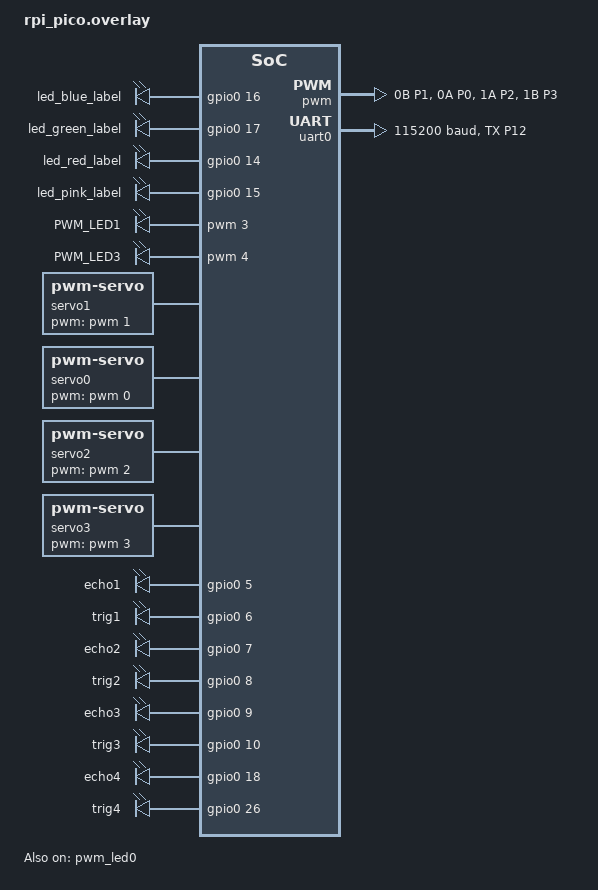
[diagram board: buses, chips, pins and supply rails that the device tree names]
#include </home/tatiana/zephyrproject/zephyr/include/zephyr/dt-bindings/pinctrl/rpi-pico-rp2040-pinctrl.h>


/ {

	aliases {
		led1 = &led_blue_label;
		led2 = &led_green_label;
		led3 = &led_red_label;
		led4 = &led_pink_label;
		pwm-led1 = &pwm_led1;
		pwm-led0 = &pwm_led3;
		echo1 = &echo1;
		trig1 = &trig1;
		echo2 = &echo2;
		trig2 = &trig2;
		echo3 = &echo3;
		trig3 = &trig3;
		echo4 = &echo4;
		trig4 = &trig4;
	  };
	
	  my_leds_node {
		compatible = "gpio-leds";
		led_blue_label: led_blue_node {
		  gpios = <&gpio0 16 GPIO_ACTIVE_HIGH>;
		};
	  };
	  my_leds_nodes {
		compatible = "gpio-leds";
		led_green_label: led_green_node {
		  gpios = <&gpio0 17 GPIO_ACTIVE_HIGH>;
		};
	  };
	  my_leds_nodes1 {
		compatible = "gpio-leds";
		led_red_label: led_red_node {
		  gpios = <&gpio0 14 GPIO_ACTIVE_HIGH>;
		};
	  };
	  my_leds_nodes2 {
		compatible = "gpio-leds";
		led_pink_label: led_pink_node {
		  gpios = <&gpio0 15 GPIO_ACTIVE_HIGH>;
		};
	  };
	 
	  pwm_leds1 {
			compatible = "pwm-leds";
			pwm_led1: pwm_led_1 {
				status = "okay";
				pwms = <&pwm 3 PWM_MSEC(20) PWM_POLARITY_NORMAL>;
				label = "PWM_LED1";
			};
			pwm_led3: pwm_led_3 {
				status = "okay";
				pwms = <&pwm 4 PWM_MSEC(20) PWM_POLARITY_NORMAL>;
				label = "PWM_LED3";
			};
			
		};
	servo1: servo1 {
		compatible = "pwm-servo";
		pwms = <&pwm 1 PWM_MSEC(20) PWM_POLARITY_NORMAL>;
		min-pulse = <PWM_USEC(700)>;
		max-pulse = <PWM_USEC(2500)>;
	};
	servo0: servo0 {
		compatible = "pwm-servo";
		pwms = <&pwm 0 PWM_MSEC(20) PWM_POLARITY_NORMAL>;
		min-pulse = <PWM_USEC(700)>;
		max-pulse = <PWM_USEC(2500)>;
	};
	servo2: servo2 {
		compatible = "pwm-servo";
		pwms = <&pwm 2 PWM_MSEC(20) PWM_POLARITY_NORMAL>;
		min-pulse = <PWM_USEC(700)>;
		max-pulse = <PWM_USEC(2500)>;
	};
	servo3: servo3 {
		compatible = "pwm-servo";
		pwms = <&pwm 3 PWM_MSEC(20) PWM_POLARITY_NORMAL>;
		min-pulse = <PWM_USEC(700)>;
		max-pulse = <PWM_USEC(2500)>;
	};
	my_leds_nodem {
		compatible = "gpio-leds";
		echo1: echo1 {
		  gpios = <&gpio0 5 GPIO_ACTIVE_HIGH>;
		};
		trig1: trig1 {
		  gpios = <&gpio0 6 GPIO_ACTIVE_HIGH>;
		};
		echo2: echo2 {
		  gpios = <&gpio0 7 GPIO_ACTIVE_HIGH>;
		};
		trig2: trig2 {
		  gpios = <&gpio0 8 GPIO_ACTIVE_HIGH>;
		};
		echo3: echo3 {
		  gpios = <&gpio0 9 GPIO_ACTIVE_HIGH>;
		};
		trig3: trig3 {
		  gpios = <&gpio0 10 GPIO_ACTIVE_HIGH>;
		};
		echo4: echo4 {
		  gpios = <&gpio0 18 GPIO_ACTIVE_HIGH>;
		};
		trig4: trig4 {
		  gpios = <&gpio0 26 GPIO_ACTIVE_HIGH>;
		};
	  };
	
	
	
};



&pinctrl {
	pwm_ch1b_default: pwm_ch1b_default {
		group1 {
			pinmux = 
			<PWM_0B_P1>,
			<PWM_0A_P0>,
			<PWM_1A_P2>,
			<PWM_1B_P3>;
			
		};
	};
};

&pwm {
	status = "okay";
	pinctrl-0 = <&pwm_ch1b_default>;
	pinctrl-names = "default";
	#address-cells = <1>;
	#size-cells = <0>;
	
};

&pwm_led0 {
	status = "okay";
};


&uart0 {
	current-speed = <115200>;
	status = "okay";
	pinctrl-0 = <&uart0_default>;
	pinctrl-names = "default";
};

&pinctrl {
	uart0_default: uart0_default {
		group1 {
			pinmux = <UART0_TX_P12>;
		};
		
	};
};



